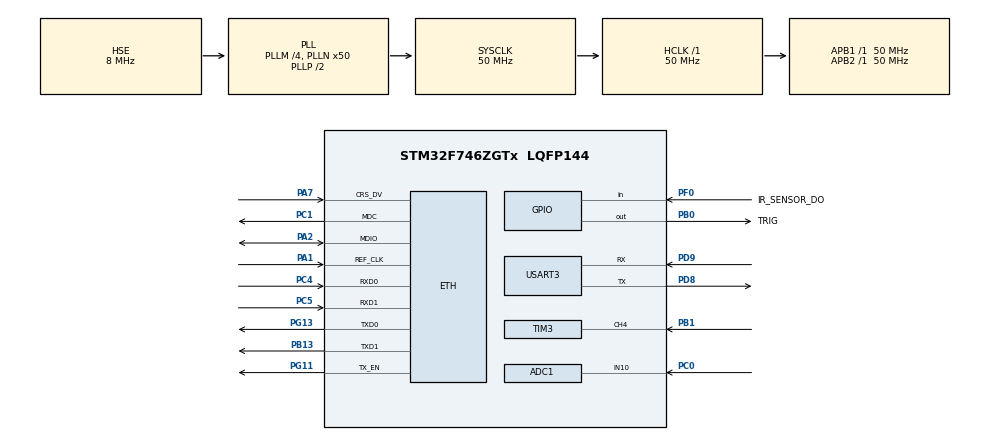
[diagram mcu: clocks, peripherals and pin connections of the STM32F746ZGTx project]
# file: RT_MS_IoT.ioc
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ADC1.Channel-0\#ChannelRegularConversion=ADC_CHANNEL_10
ADC1.ClockPrescaler=ADC_CLOCK_SYNC_PCLK_DIV4
ADC1.NbrOfConversionFlag=1
ADC1.Rank-0\#ChannelRegularConversion=1
ADC1.SamplingTime-0\#ChannelRegularConversion=ADC_SAMPLETIME_3CYCLES
ADC1.master=1
CORTEX_M7.default_mode_Activation=1
ETH.MediaInterface=HAL_ETH_RMII_MODE
LWIP.BSP.number=1
LWIP.Version=v2.1.2_Cube
LWIP0.BSP.STBoard=false
LWIP0.BSP.api=BSP_COMPONENT_DRIVER
LWIP0.BSP.component=LAN8742
LWIP0.BSP.instance=LAN8742
LWIP0.BSP.name=Driver_PHY
LWIP0.BSP.semaphore=S_LAN8742
LWIP0.BSP.solution=LAN8742
Mcu.Family=STM32F7
Mcu.Name=STM32F746ZGTx
Mcu.Package=LQFP144
NVIC.ETH_IRQn=true\:0\:0\:false\:false\:true\:true\:true\:true
NVIC.PriorityGroup=NVIC_PRIORITYGROUP_4
NVIC.TIM3_IRQn=true\:0\:0\:false\:false\:true\:true\:true\:true
PA1.Mode=RMII
PA1.Signal=ETH_REF_CLK
PA2.Mode=RMII
PA2.Signal=ETH_MDIO
PA7.Mode=RMII
PA7.Signal=ETH_CRS_DV
PB0.GPIO_Label=TRIG
PB0.Signal=GPIO_Output
PB1.Signal=S_TIM3_CH4
PB13.Mode=RMII
PB13.Signal=ETH_TXD1
PC0.Signal=ADCx_IN10
PC1.Mode=RMII
PC1.Signal=ETH_MDC
PC4.Mode=RMII
PC4.Signal=ETH_RXD0
PC5.Mode=RMII
PC5.Signal=ETH_RXD1
PD8.Mode=Asynchronous
PD8.Signal=USART3_TX
PD9.Mode=Asynchronous
PD9.Signal=USART3_RX
PF0.GPIO_Label=IR_SENSOR_DO
PF0.GPIO_PuPd=GPIO_PULLUP
PF0.Signal=GPIO_Input
PG11.Mode=RMII
PG11.Signal=ETH_TX_EN
PG13.Mode=RMII
PG13.Signal=ETH_TXD0
PH0/OSC_IN.Mode=HSE-External-Clock-Source
PH0/OSC_IN.Signal=RCC_OSC_IN
PH1/OSC_OUT.Mode=HSE-External-Clock-Source
PH1/OSC_OUT.Signal=RCC_OSC_OUT
ProjectManager.HeapSize=0x200
ProjectManager.StackSize=0x400
ProjectManager.TargetToolchain=STM32CubeIDE
RCC.AHBFreq_Value=50000000
RCC.APB1Freq_Value=50000000
RCC.APB1TimFreq_Value=50000000
RCC.APB2Freq_Value=50000000
RCC.APB2TimFreq_Value=50000000
RCC.CortexFreq_Value=50000000
RCC.HCLKFreq_Value=50000000
RCC.HSE_VALUE=8000000
RCC.HSI_VALUE=16000000
RCC.LSE_VALUE=32768
RCC.PLLM=4
RCC.PLLN=50
RCC.PLLSourceVirtual=RCC_PLLSOURCE_HSE
RCC.SYSCLKFreq_VALUE=50000000
RCC.SYSCLKSource=RCC_SYSCLKSOURCE_PLLCLK
RCC.USBFreq_Value=50000000
RCC.VCOOutputFreq_Value=100000000
SH.ADCx_IN10.0=ADC1_IN10,IN10
SH.S_TIM3_CH4.0=TIM3_CH4,Input_Capture4_from_TI4
TIM3.Channel-Input_Capture4_from_TI4=TIM_CHANNEL_4
TIM3.Prescaler=50-1
USART3.VirtualMode-Asynchronous=VM_ASYNC
VP_LWIP_VS_Enabled.Mode=Enabled
board=custom

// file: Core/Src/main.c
/* USER CODE BEGIN Header */
/**
  ******************************************************************************
  * @file           : main.c
  * @brief          : Main program body
  *
  *  Sensors:
  *    1. HC-SR04  Ultrasonic  – TRIG: PB0 (GPIO OUT), ECHO: PB1 (TIM3_CH4 IC)
  *    2. MQ  Gas Sensor       – AO  : PC0 (ADC1 CH10, 12-bit)
  *    3. MH  IR  Sensor       – DO  : PF0 (GPIO Input, active-LOW)
  *
  *  Feeds on Adafruit IO:
  *    "parking"   → OCCUPIED / EMPTY   (ultrasonic, threshold 20 cm)
  *    "gas"       → 0–4095 raw ADC     (MQ sensor)
  *    "ir-sensor" → DETECTED / CLEAR   (MH IR sensor)
  ******************************************************************************
  */
/* USER CODE END Header */

#include "main.h"
#include "lwip.h"

/* USER CODE BEGIN Includes */
#include <string.h>
#include <stdio.h>
#include "lwip/tcp.h"
#include <math.h>
/* USER CODE END Includes */

/* USER CODE BEGIN PTD */
extern struct netif gnetif;

/**
 * @brief  Carries feed name + value string through the async TCP callback.
 *         Must remain valid until http_connected_callback fires (~few ms).
 *         A single static instance is safe because uploads are serialised
 *         with a 1500 ms LwIP pump between each call.
 */
typedef struct {
    char feed[32];
    char value[32];
} UploadCtx;
/* USER CODE END PTD */

/* USER CODE BEGIN PD */
/* ── MH IR Sensor (flying-fish module) ── */
#define IR_SENSOR_PIN   GPIO_PIN_0      /* PF0 → DO, active-LOW            */
#define IR_SENSOR_PORT  GPIOF

/* ── MQ Gas Sensor ── */
/* PC0 → ADC1_IN10  (configured in MX_ADC1_Init)                          */
/* USER CODE END PD */

TIM_HandleTypeDef  htim3;
ADC_HandleTypeDef  hadc1;       /* NEW – MQ gas sensor                      */
UART_HandleTypeDef huart3;

/* USER CODE BEGIN PV */
uint32_t last_upload_time = 0;

/* ── Adafruit IO credentials ── */
const char    *ADAFRUIT_IP   = "52.7.84.197";  /* io.adafruit.com          */
const uint16_t ADAFRUIT_PORT = 80;
const char    *AIO_USERNAME  = "[Enter AIO_USERNAME]";
const char    *AIO_KEY       = "[Enter AIO_KEY]";

/* ── Feed names ── */
const char *AIO_FEED_US  = "ultrasonic";      /* Ultrasonic – slot occupancy  */
const char *AIO_FEED_GAS = "mq-sensor";          /* MQ gas sensor – ADC raw      */
const char *AIO_FEED_IR  = "ir-sensor";   /* MH IR sensor – presence      */

/* ── HC-SR04 input-capture state ── */
volatile uint32_t ic_rising  = 0;
volatile uint32_t ic_falling = 0;
volatile uint8_t  ic_state   = 0;  /* 0 = waiting rising, 1 = waiting falling */
volatile uint8_t  ic_done    = 0;  /* 1 = measurement ready                   */
float distance_cm = 0.0f;

/* ── New sensor readings ── */
uint16_t gas_raw_value = 0;    /* MQ:  0–4095 ADC count                    */
uint8_t  ir_detected   = 0;    /* MH:  1 = object present, 0 = clear       */

/* ── Shared TCP upload context ── */
static UploadCtx upload_ctx;

/* ── HTTP request scratch buffer ── */
char request_buffer[512];
/* USER CODE END PV */

void SystemClock_Config(void);
static void MX_GPIO_Init(void);
static void MX_TIM3_Init(void);
static void MX_USART3_UART_Init(void);
static void MX_ADC1_Init(void);             /* NEW */

/* USER CODE BEGIN PFP */
/* Sensor helpers */
void     HCSR04_Trigger(void);
float    HCSR04_GetDistance(void);
uint16_t MQ_ReadRaw(void);                  /* NEW */
uint8_t  MH_Read(void);                    /* NEW */

/* Network helpers */
void upload_sensor_data(const char *feed, const char *value); /* NEW */
static err_t http_connected_callback(void *arg, struct tcp_pcb *tpcb, err_t err);
static void  http_error_callback(void *arg, err_t err);
static err_t http_recv_callback(void *arg, struct tcp_pcb *tpcb,
                                 struct pbuf *p, err_t err);
void HAL_TIM_IC_CaptureCallback(TIM_HandleTypeDef *htim);
/* USER CODE END PFP */

/* USER CODE BEGIN 0 */
char dbg[160];   /* enlarged to fit three sensor values                     */
/* USER CODE END 0 */

/* ─────────────────────────────── main ──────────────────────────────────── */
int main(void)
{

    HAL_Init();

    SystemClock_Config();

    MX_GPIO_Init();
    MX_LWIP_Init();
    MX_TIM3_Init();
    MX_USART3_UART_Init();
    MX_ADC1_Init();         /* NEW – must come after GPIO clocks are enabled */

    /* USER CODE BEGIN 2 */
    HAL_TIM_IC_Start_IT(&htim3, TIM_CHANNEL_4);
    /* USER CODE END 2 */

    /* Infinite loop */
    while (1)
    {
        /* USER CODE BEGIN 3 */

        MX_LWIP_Process();

        /* ── Debug: print all three sensor readings every 500 ms ── */
        // Extract the whole number part
        int dist_whole = (int)distance_cm;

        // Extract the fractional part (2 decimal places)
        // We use absolute value to avoid issues if distance_cm is ever negative
        int dist_frac = (int)(fabs(distance_cm - dist_whole) * 100);

        snprintf(dbg, sizeof(dbg),
                 "[US] %d.%02d cm | [GAS] %4u | [IR] %s | ic_done=%d\r\n",
                 dist_whole,
                 dist_frac,
                 gas_raw_value,
                 ir_detected ? "DETECTED" : "CLEAR",
                 (int)ic_done);
        HAL_UART_Transmit(&huart3, (uint8_t*)dbg, strlen(dbg), 100);
        HAL_Delay(500);

        /* ── Upload every 5 seconds ── */
        if (HAL_GetTick() - last_upload_time > 7000)
        {
            if (netif_is_up(&gnetif) && netif_is_link_up(&gnetif))
            {
                uint32_t t;

                /* ── STEP 1: Read all sensors ─────────────────────────── */

                /* 1a. Ultrasonic (HC-SR04) */
                HCSR04_Trigger();
                t = HAL_GetTick();
                while (HAL_GetTick() - t < 50) MX_LWIP_Process(); /* 50 ms echo window */
                distance_cm = HCSR04_GetDistance();

                /* 1b. MQ Gas Sensor */
                gas_raw_value = MQ_ReadRaw();

                /* 1c. MH IR Sensor */
                ir_detected = MH_Read();

                /* ── STEP 2: Upload – Ultrasonic ──────────────────────── */
                if (distance_cm > 0.0f)
                {
                    const char *slot = (distance_cm < 20.0f) ? "OCCUPIED" : "EMPTY";
                    upload_sensor_data(AIO_FEED_US, slot);
                    t = HAL_GetTick();
                    while (HAL_GetTick() - t < 1500) MX_LWIP_Process();
                }

                /* ── STEP 3: Upload – Gas ─────────────────────────────── */
                {
                    char gv[8];
                    snprintf(gv, sizeof(gv), "%u", gas_raw_value);
                    upload_sensor_data(AIO_FEED_GAS, gv);
                    t = HAL_GetTick();
                    while (HAL_GetTick() - t < 1500) MX_LWIP_Process();
                }

                /* ── STEP 4: Upload – IR ──────────────────────────────── */
                upload_sensor_data(AIO_FEED_IR,
                                   ir_detected ? "DETECTED" : "CLEAR");
                t = HAL_GetTick();
                while (HAL_GetTick() - t < 1500) MX_LWIP_Process();

                last_upload_time = HAL_GetTick();
            }
        }
    }
    /* USER CODE END 3 */
}

/* ──────────────────────── Clock configuration ───────────────────────────── */
void SystemClock_Config(void)
{
    RCC_OscInitTypeDef RCC_OscInitStruct = {0};
    RCC_ClkInitTypeDef RCC_ClkInitStruct = {0};

    __HAL_RCC_PWR_CLK_ENABLE();
    __HAL_PWR_VOLTAGESCALING_CONFIG(PWR_REGULATOR_VOLTAGE_SCALE3);

    RCC_OscInitStruct.OscillatorType = RCC_OSCILLATORTYPE_HSE;
    RCC_OscInitStruct.HSEState       = RCC_HSE_BYPASS;
    RCC_OscInitStruct.PLL.PLLState   = RCC_PLL_ON;
    RCC_OscInitStruct.PLL.PLLSource  = RCC_PLLSOURCE_HSE;
    RCC_OscInitStruct.PLL.PLLM      = 4;
    RCC_OscInitStruct.PLL.PLLN      = 50;
    RCC_OscInitStruct.PLL.PLLP      = RCC_PLLP_DIV2;
    RCC_OscInitStruct.PLL.PLLQ      = 2;
    if (HAL_RCC_OscConfig(&RCC_OscInitStruct) != HAL_OK) Error_Handler();

    if (HAL_PWREx_EnableOverDrive() != HAL_OK) Error_Handler();

    RCC_ClkInitStruct.ClockType      = RCC_CLOCKTYPE_HCLK  | RCC_CLOCKTYPE_SYSCLK
                                     | RCC_CLOCKTYPE_PCLK1 | RCC_CLOCKTYPE_PCLK2;
    RCC_ClkInitStruct.SYSCLKSource   = RCC_SYSCLKSOURCE_PLLCLK;
    RCC_ClkInitStruct.AHBCLKDivider  = RCC_SYSCLK_DIV1;
    RCC_ClkInitStruct.APB1CLKDivider = RCC_HCLK_DIV1;
    RCC_ClkInitStruct.APB2CLKDivider = RCC_HCLK_DIV1;
    if (HAL_RCC_ClockConfig(&RCC_ClkInitStruct, FLASH_LATENCY_1) != HAL_OK)
        Error_Handler();
}

/* ──────────────────────── ADC1 Init (NEW) ───────────────────────────────── */
/**
  * @brief  ADC1 Initialisation for MQ gas sensor
  *         PC0 → ADC1_IN10, 12-bit, software-triggered, single conversion
  */
static void MX_ADC1_Init(void)
{

    ADC_ChannelConfTypeDef sConfig = {0};

    hadc1.Instance                   = ADC1;
    hadc1.Init.ClockPrescaler        = ADC_CLOCK_SYNC_PCLK_DIV4;
    hadc1.Init.Resolution            = ADC_RESOLUTION_12B;
    hadc1.Init.ScanConvMode          = DISABLE;
    hadc1.Init.ContinuousConvMode    = DISABLE;
    hadc1.Init.DiscontinuousConvMode = DISABLE;
    hadc1.Init.ExternalTrigConvEdge  = ADC_EXTERNALTRIGCONVEDGE_NONE;
    hadc1.Init.ExternalTrigConv      = ADC_SOFTWARE_START;
    hadc1.Init.DataAlign             = ADC_DATAALIGN_RIGHT;
    hadc1.Init.NbrOfConversion       = 1;
    hadc1.Init.DMAContinuousRequests = DISABLE;
    hadc1.Init.EOCSelection          = ADC_EOC_SINGLE_CONV;
    if (HAL_ADC_Init(&hadc1) != HAL_OK) Error_Handler();

    /* Channel 10 = PC0 */
    sConfig.Channel      = ADC_CHANNEL_10;
    sConfig.Rank         = 1;
    sConfig.SamplingTime = ADC_SAMPLETIME_480CYCLES; /* max stability for resistive sensor */
    if (HAL_ADC_ConfigChannel(&hadc1, &sConfig) != HAL_OK) Error_Handler();

}

/* ──────────────────────── TIM3 Init (unchanged) ────────────────────────── */
static void MX_TIM3_Init(void)
{

    TIM_ClockConfigTypeDef sClockSourceConfig = {0};
    TIM_MasterConfigTypeDef sMasterConfig     = {0};
    TIM_IC_InitTypeDef sConfigIC              = {0};

    htim3.Instance               = TIM3;
    htim3.Init.Prescaler         = 50 - 1;   /* APB1 50 MHz → timer 1 MHz (1 µs) */
    htim3.Init.CounterMode       = TIM_COUNTERMODE_UP;
    htim3.Init.Period            = 65535;
    htim3.Init.ClockDivision     = TIM_CLOCKDIVISION_DIV1;
    htim3.Init.AutoReloadPreload = TIM_AUTORELOAD_PRELOAD_DISABLE;
    if (HAL_TIM_Base_Init(&htim3) != HAL_OK) Error_Handler();

    sClockSourceConfig.ClockSource = TIM_CLOCKSOURCE_INTERNAL;
    if (HAL_TIM_ConfigClockSource(&htim3, &sClockSourceConfig) != HAL_OK)
        Error_Handler();

    if (HAL_TIM_IC_Init(&htim3) != HAL_OK) Error_Handler();

    sMasterConfig.MasterOutputTrigger = TIM_TRGO_RESET;
    sMasterConfig.MasterSlaveMode     = TIM_MASTERSLAVEMODE_DISABLE;
    if (HAL_TIMEx_MasterConfigSynchronization(&htim3, &sMasterConfig) != HAL_OK)
        Error_Handler();

    sConfigIC.ICPolarity  = TIM_INPUTCHANNELPOLARITY_RISING;
    sConfigIC.ICSelection = TIM_ICSELECTION_DIRECTTI;
    sConfigIC.ICPrescaler = TIM_ICPSC_DIV1;
    sConfigIC.ICFilter    = 0;
    if (HAL_TIM_IC_ConfigChannel(&htim3, &sConfigIC, TIM_CHANNEL_4) != HAL_OK)
        Error_Handler();

}

/* ──────────────────────── USART3 Init (unchanged) ──────────────────────── */
static void MX_USART3_UART_Init(void)
{

    huart3.Instance                    = USART3;
    huart3.Init.BaudRate               = 115200;
    huart3.Init.WordLength             = UART_WORDLENGTH_8B;
    huart3.Init.StopBits               = UART_STOPBITS_1;
    huart3.Init.Parity                 = UART_PARITY_NONE;
    huart3.Init.Mode                   = UART_MODE_TX_RX;
    huart3.Init.HwFlowCtl              = UART_HWCONTROL_NONE;
    huart3.Init.OverSampling           = UART_OVERSAMPLING_16;
    huart3.Init.OneBitSampling         = UART_ONE_BIT_SAMPLE_DISABLE;
    huart3.AdvancedInit.AdvFeatureInit = UART_ADVFEATURE_NO_INIT;
    if (HAL_UART_Init(&huart3) != HAL_OK) Error_Handler();

}

/* ──────────────────────── GPIO Init ────────────────────────────────────── */
static void MX_GPIO_Init(void)
{
    GPIO_InitTypeDef GPIO_InitStruct = {0};

    /* GPIO Ports Clock Enable */
    __HAL_RCC_GPIOH_CLK_ENABLE();
    __HAL_RCC_GPIOC_CLK_ENABLE();
    __HAL_RCC_GPIOA_CLK_ENABLE();
    __HAL_RCC_GPIOB_CLK_ENABLE();
    __HAL_RCC_GPIOD_CLK_ENABLE();
    __HAL_RCC_GPIOG_CLK_ENABLE();
    __HAL_RCC_GPIOF_CLK_ENABLE();   /* NEW – needed for PF0 (IR sensor DO)  */

    /* ── PB0: HC-SR04 TRIG (existing) ── */
    HAL_GPIO_WritePin(TRIG_GPIO_Port, TRIG_Pin, GPIO_PIN_RESET);

    GPIO_InitStruct.Pin   = TRIG_Pin;
    GPIO_InitStruct.Mode  = GPIO_MODE_OUTPUT_PP;
    GPIO_InitStruct.Pull  = GPIO_NOPULL;
    GPIO_InitStruct.Speed = GPIO_SPEED_FREQ_LOW;
    HAL_GPIO_Init(TRIG_GPIO_Port, &GPIO_InitStruct);

    /* USER CODE BEGIN MX_GPIO_Init_2 */

    /* ── PF0: MH IR Sensor DO (NEW) ──
     *  The MH module's DO pin is open-collector active-LOW:
     *  LOW  = IR reflected → object detected
     *  HIGH = no reflection → clear
     *  Enable internal pull-up so the line is HIGH when no object is present. */
    GPIO_InitStruct.Pin   = IR_SENSOR_PIN;   /* GPIO_PIN_0                   */
    GPIO_InitStruct.Mode  = GPIO_MODE_INPUT;
    GPIO_InitStruct.Pull  = GPIO_PULLUP;
    HAL_GPIO_Init(IR_SENSOR_PORT, &GPIO_InitStruct);   /* GPIOF               */

    /* USER CODE END MX_GPIO_Init_2 */
}

/* ═══════════════════════════════════════════════════════════════════════════
 *  USER CODE BEGIN 4
 * ═══════════════════════════════════════════════════════════════════════════ */

/* ──────────────────────── LwIP TCP callbacks ────────────────────────────── */

static err_t http_recv_callback(void *arg, struct tcp_pcb *tpcb,
                                 struct pbuf *p, err_t err)
{
    (void)arg; (void)err;
    if (p != NULL) {
        tcp_recved(tpcb, p->tot_len);
        pbuf_free(p);
    } else {
        /* p == NULL: server closed connection gracefully */
        tcp_close(tpcb);
    }
    return ERR_OK;
}

static void http_error_callback(void *arg, err_t err)
{
    (void)arg;
    /* PCB already freed by LwIP on error – do not call tcp_close() here */
    char msg[48];
    snprintf(msg, sizeof(msg), "[ERR] TCP error: %d\r\n", (int)err);
    HAL_UART_Transmit(&huart3, (uint8_t*)msg, strlen(msg), 50);
}

/**
  * @brief  Called when TCP connection to Adafruit IO is established.
  *         Reads feed/value from the UploadCtx passed via tcp_arg().
  */
static err_t http_connected_callback(void *arg, struct tcp_pcb *tpcb, err_t err)
{
    if (err != ERR_OK) return err;

    UploadCtx *ctx = (UploadCtx *)arg;

    char body[48];
    snprintf(body, sizeof(body), "{\"value\":\"%s\"}", ctx->value);

    snprintf(request_buffer, sizeof(request_buffer),
        "POST /api/v2/%s/feeds/%s/data HTTP/1.1\r\n"
        "Host: io.adafruit.com\r\n"
        "X-AIO-Key: %s\r\n"
        "Content-Type: application/json\r\n"
        "Content-Length: %d\r\n"
        "Connection: close\r\n\r\n"
        "%s",
        AIO_USERNAME, ctx->feed, AIO_KEY, (int)strlen(body), body);

    tcp_recv(tpcb, http_recv_callback);
    tcp_write(tpcb, request_buffer, strlen(request_buffer), TCP_WRITE_FLAG_COPY);
    tcp_output(tpcb);
    return ERR_OK;
}

/**
  * @brief  Open a TCP connection and POST one sensor value to Adafruit IO.
  * @param  feed   Adafruit IO feed name (e.g. "gas", "ir-sensor", "parking")
  * @param  value  String value to publish (e.g. "OCCUPIED", "1234")
  *
  * @note   upload_ctx is a static struct; the 1500 ms LwIP pump after each
  *         call ensures the callback fires before the struct is overwritten.
  */
void upload_sensor_data(const char *feed, const char *value)
{
    struct tcp_pcb *pcb;
    ip_addr_t dest_ip;

    /* Populate shared context */
    strncpy(upload_ctx.feed,  feed,  sizeof(upload_ctx.feed)  - 1);
    upload_ctx.feed [sizeof(upload_ctx.feed)  - 1] = '\0';
    strncpy(upload_ctx.value, value, sizeof(upload_ctx.value) - 1);
    upload_ctx.value[sizeof(upload_ctx.value) - 1] = '\0';

    ipaddr_aton(ADAFRUIT_IP, &dest_ip);
    pcb = tcp_new();
    if (pcb != NULL) {
        tcp_arg(pcb, &upload_ctx);          /* pass context to callbacks    */
        tcp_err(pcb, http_error_callback);
        tcp_connect(pcb, &dest_ip, ADAFRUIT_PORT, http_connected_callback);
    }
}

/* ──────────────────────── HC-SR04 Ultrasonic ───────────────────────────── */

/**
  * @brief  Send a >10 µs trigger pulse on PB0 (trig_Pin).
  *         Resets ic_done so HCSR04_GetDistance() can detect a fresh result.
  */
void HCSR04_Trigger(void)
{
    ic_done  = 0;
    ic_state = 0;
    /* __HAL_TIM_SET_CAPTUREPOLARITY ensures we start on rising edge */
    __HAL_TIM_SET_CAPTUREPOLARITY(&htim3, TIM_CHANNEL_4,
                                  TIM_INPUTCHANNELPOLARITY_RISING);

    HAL_GPIO_WritePin(TRIG_GPIO_Port, TRIG_Pin, GPIO_PIN_SET);
    HAL_Delay(1);   /* 1 ms >> 10 µs minimum pulse width */
    HAL_GPIO_WritePin(TRIG_GPIO_Port, TRIG_Pin, GPIO_PIN_RESET);
}

/**
  * @brief  Compute distance from captured timer counts.
  * @retval distance in cm, or -1.0f if echo not yet ready.
  *
  *  TIM3 clock = APB1 / prescaler = 50 MHz / 50 = 1 MHz → 1 µs per count
  *  distance   = pulse_µs × 0.0343 / 2   (speed of sound, round-trip)
  */
float HCSR04_GetDistance(void)
{
    if (!ic_done) return -1.0f;

    uint32_t pulse_us = (ic_falling >= ic_rising)
        ? (ic_falling  - ic_rising)
        : (65536UL - ic_rising + ic_falling);   /* handle 16-bit counter wrap */

    return (pulse_us * 0.0343f) / 2.0f;
}

/**
  * @brief  TIM3 CH4 input-capture ISR – toggles polarity to catch both edges.
  */
void HAL_TIM_IC_CaptureCallback(TIM_HandleTypeDef *htim)
{
    if (htim->Instance == TIM3 && htim->Channel == HAL_TIM_ACTIVE_CHANNEL_4)
    {
        if (ic_state == 0)  /* ── Rising edge captured ── */
        {
            ic_rising = HAL_TIM_ReadCapturedValue(htim, TIM_CHANNEL_4);
            __HAL_TIM_SET_CAPTUREPOLARITY(htim, TIM_CHANNEL_4,
                                          TIM_INPUTCHANNELPOLARITY_FALLING);
            ic_state = 1;
        }
        else                /* ── Falling edge captured ── */
        {
            ic_falling = HAL_TIM_ReadCapturedValue(htim, TIM_CHANNEL_4);
            __HAL_TIM_SET_CAPTUREPOLARITY(htim, TIM_CHANNEL_4,
                                          TIM_INPUTCHANNELPOLARITY_RISING);
            ic_state = 0;
            ic_done  = 1;   /* Signal: measurement ready */
        }
    }
}

/* ──────────────────────── MQ Gas Sensor ────────────────────────────────── */
/**
  * @brief  Read MQ sensor analogue output via ADC1 CH10 (PC0).
  * @retval 12-bit raw ADC value (0 = 0 V, 4095 = VCC = 3.3 V on STM32F7).
  *
  *  Voltage on AO rises with gas concentration.
  *  To convert to ppm: apply sensor-specific Rs/R0 curve from datasheet.
  *  (MQ-2 ≈ LPG/Smoke, MQ-3 ≈ Alcohol, MQ-7 ≈ CO – choose per module.)
  */
uint16_t MQ_ReadRaw(void)
{
    HAL_ADC_Start(&hadc1);
    if (HAL_ADC_PollForConversion(&hadc1, 10 /* ms timeout */) == HAL_OK)
        return (uint16_t)HAL_ADC_GetValue(&hadc1);
    return 0;   /* return 0 on timeout/error */
}

/* ──────────────────────── MH IR Sensor (Flying Fish) ───────────────────── */
/**
  * @brief  Read MH-series IR obstacle sensor digital output on PF0.
  * @retval 1 = object detected (DO LOW), 0 = clear (DO HIGH).
  *
  *  Sensitivity is adjustable via the onboard potentiometer.
  *  Typical detection range: 2–40 cm (varies with reflectivity).
  *  DO pin is open-collector; internal pull-up enabled in MX_GPIO_Init.
  */
uint8_t MH_Read(void)
{
    /* Active LOW: pin pulled to GND by comparator when object is present */
    return (HAL_GPIO_ReadPin(IR_SENSOR_PORT, IR_SENSOR_PIN) == GPIO_PIN_RESET)
           ? 1u : 0u;
}

/* USER CODE END 4 */

/* ──────────────────────── Error handler ────────────────────────────────── */
void Error_Handler(void)
{
    __disable_irq();
    while (1) {}
}

#ifdef USE_FULL_ASSERT
void assert_failed(uint8_t *file, uint32_t line)
{
    /* USER CODE BEGIN 6 */
    (void)file; (void)line;
    /* USER CODE END 6 */
}
#endif /* USE_FULL_ASSERT */
